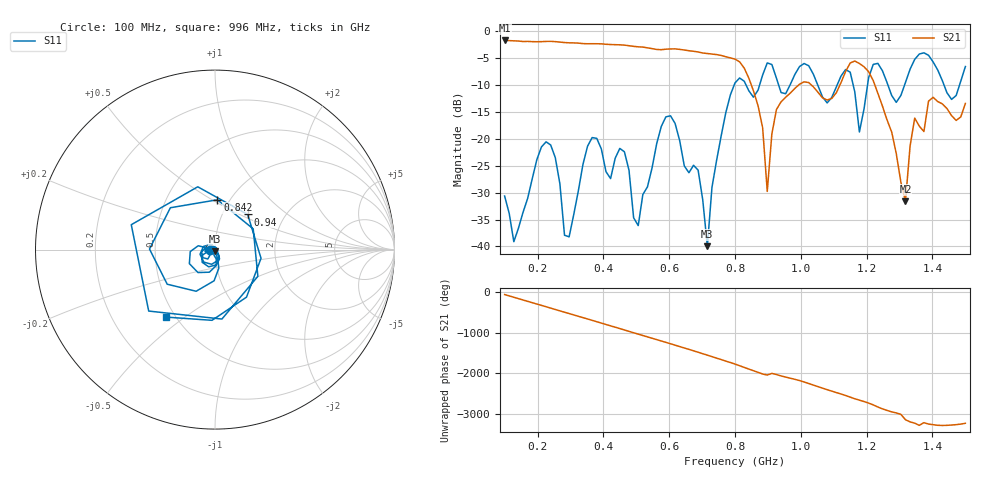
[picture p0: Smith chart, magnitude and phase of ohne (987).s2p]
! NanoVNA-App
! Date: 2025-09-25 14:28:29
! Start: 100MHz Stop: 1,5GHz Points: 101
! S-Parameter data: F S11 S21 S12 S22
# Hz S RI R 50
!  Frequency  S11_Real  S11_Imag  S21_Real  S21_Imag  S12_Real  S12_Imag  S22_Real  S22_Imag
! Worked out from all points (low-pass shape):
!   101 points, 100 MHz to 1.5 GHz, reference 50 ohm
!   highest |S21| = -1.79 dB at 100 MHz (marker M1); lowest = -31.6 dB at 1.318 GHz (marker M2)
!   |S21| within 3 dB of the highest: start of sweep to 770.9 MHz
!   lowest |S11| = -39.9 dB at 716 MHz (marker M3), VSWR 1.02, Z = 49.8 - j0.973 ohm
!   |S11| at or under -10 dB: start of sweep to 797.9 MHz; 833.1 MHz to 875 MHz (41.89 MHz wide, 4.9 % of centre); 1.051 GHz to 1.111 GHz (59.78 MHz wide, 5.53 % of centre)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
!   S12 and S22 are empty: the file has one direction only
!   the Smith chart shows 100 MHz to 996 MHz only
!   S11 on the Smith chart (normalised r, x): 100 MHz: 0.94, -0.01; 842 MHz: 0.88, +0.53; 940 MHz: 1.31, +0.55; 996 MHz: 0.44, -0.43
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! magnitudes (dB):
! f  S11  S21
! 100 MHz  -30.6  -1.8
! 128 MHz  -39.1  -1.9
! 226 MHz  -20.6  -2.0
! 296 MHz  -38.2  -2.2
! 338 MHz  -24.8  -2.4
! 464 MHz  -22.4  -2.7
! 506 MHz  -36.1  -3.0
! 576 MHz  -17.7  -3.5
! 688 MHz  -25.8  -3.9
! 716 MHz  -39.9  -4.2
! 800 MHz  -9.7  -5.3
! 842 MHz  -11.1  -8.8
! 898 MHz  -6.0  -29.8
! 940 MHz  -11.5  -13.2
! 996 MHz  -6.6  -9.9
! 1.038 GHz  -8.0  -10.4
! 1.178 GHz  -18.8  -6.1
! 1.22 GHz  -6.2  -9.2
! 1.276 GHz  -12.0  -18.8
! 1.318 GHz  -9.6  -31.6
! 1.346 GHz  -5.3  -16.2
! 1.5 GHz  -6.6  -13.5
